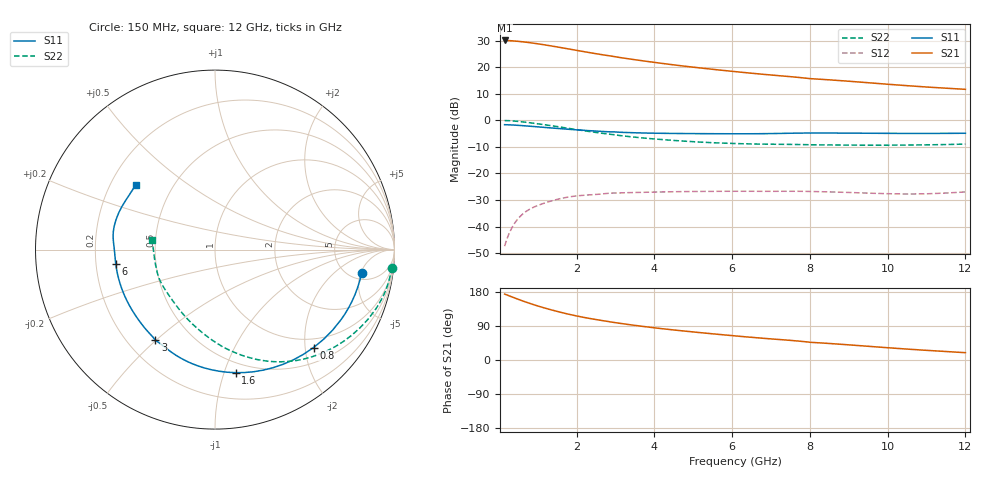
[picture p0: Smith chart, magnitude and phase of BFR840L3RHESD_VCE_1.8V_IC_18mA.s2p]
! Infineon Technologies  Discrete & RF Semiconductors
! BFR840L3RHESD
! VCE =  1.8 V,  IC =  18 mA
! Common Emitter S-Parameters:  Jun 2012
# GHz  S  MA  R  50
!  f  S11  S21  S12  S22
! GHz  MAG  ANG  MAG  ANG  MAG  ANG  MAG  ANG
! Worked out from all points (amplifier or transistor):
!   91 points, 150 MHz to 12 GHz, reference 50 ohm
!   highest |S21| = 30.0 dB at 150 MHz (marker M1)
!   |S21| within 3 dB of that: start of sweep to 1.721 GHz
!   unconditionally stable (mu >= 1): 7.649 GHz to end of sweep
!   at 1.3 GHz: K = 0.17, MSG = 29.3 dB, |S12| = -30.5 dB
!   at 4.3 GHz: K = 0.55, MSG = 24.1 dB, |S12| = -26.9 dB
!   at 12 GHz: K = 1.83, MAG = 14.0 dB, |S12| = -26.9 dB
!   S11 on the Smith chart (normalised r, x): 150 MHz: 6.28, -5.14; 800 MHz: 0.80, -2.18; 1.6 GHz: 0.41, -1.09; 3 GHz: 0.31, -0.50; 6 GHz: 0.28, -0.07; 12 GHz: 0.30, +0.33
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0.15  0.8268 -9.0  31.73 174.0  0.0043 86.6  0.9893 -5.8
0.3  0.8194 -17.8  31.38 168.0  0.0084 80.0  0.98 -12.6
0.5  0.8037 -29.0  30.52 160.2  0.0143 72.4  0.953 -20.8
0.6  0.7943 -34.4  29.99 156.4  0.0169 69.5  0.9361 -24.6
0.8  0.7742 -44.8  28.8 149.3  0.0214 64.4  0.8993 -32.0
1  0.7535 -54.6  27.47 142.7  0.025 59.7  0.8608 -38.9
1.2  0.7332 -63.8  26.08 136.6  0.0282 55.3  0.8217 -45.3
1.4  0.7137 -72.5  24.66 131.0  0.0311 51.1  0.7823 -51.4
1.6  0.6952 -80.5  23.27 125.7  0.0339 47.4  0.7433 -57.0
1.9  0.6698 -91.7  21.3 118.5  0.0371 42.6  0.6869 -64.8
2.2  0.6474 -101.7  19.5 112.2  0.039 38.6  0.6355 -71.8
2.6  0.621 -113.0  17.4 105.1  0.0409 34.5  0.5775 -80.1
3  0.6045 -123.3  15.66 98.5  0.043 30.8  0.5324 -87.1
3.5  0.583 -134.1  13.79 91.4  0.0439 28.0  0.482 -95.9
4.2  0.5696 -146.6  11.75 82.6  0.045 24.9  0.4344 -106.5
5  0.5624 -159.0  9.982 74.0  0.0459 23.0  0.3963 -117.9
6  0.5585 -171.6  8.345 64.4  0.0463 20.2  0.3674 -130.9
6.1  0.5584 -172.7  8.205 63.4  0.0463 20.0  0.3655 -132.2
8  0.5765 167.0  6.082 46.8  0.0459 17.9  0.3472 -156.9
8.5  0.5762 163.1  5.767 43.6  0.0451 17.6  0.3441 -161.3
10.5  0.5667 148.3  4.48 28.8  0.0411 23.9  0.3425 -178.9
12  0.5707 140.9  3.825 19.3  0.045 33.1  0.3572 171.8
